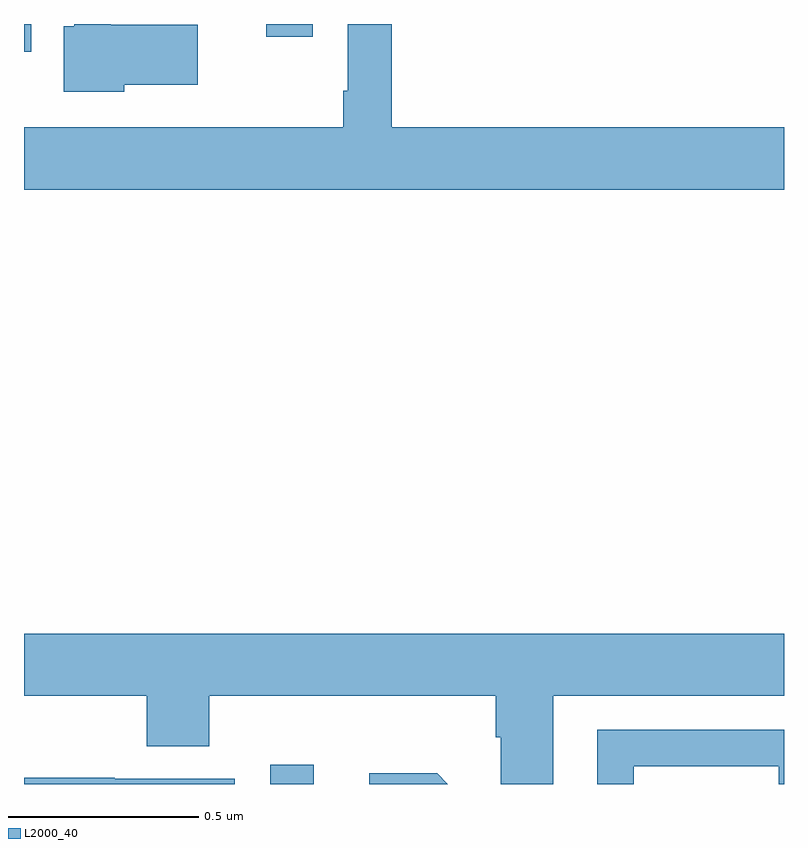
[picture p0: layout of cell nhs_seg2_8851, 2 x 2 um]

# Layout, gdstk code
import gdstk
lib = gdstk.Library(unit=1e-6, precision=1e-09)
def R(c, l, rs):  # rectangles x0, y0, x1, y1
    for r in rs: c.add(gdstk.rectangle(r[:2], r[2:], *l))
def P(c, l, *ps):  # polygons
    for p in ps: c.add(gdstk.Polygon(p, *l))
L2000_40 = (2000, 40)

nhs_seg2_8851 = lib.new_cell('nhs_seg2_8851')
R(nhs_seg2_8851, L2000_40, [(222.648,584.8,222.763,584.851), (222,586.727,222.019,586.8), (222.638,586.767,222.76,586.8)])
P(nhs_seg2_8851, L2000_40, [(224,586.528),(222.968,586.528),(222.968,586.8),(222.852,586.8),(222.852,586.624),(222.84,586.624),(222.84,586.528),(222,586.528),(222,586.364),(224,586.364)],
  [(222.264,586.64),(222.457,586.64),(222.457,586.798),(222.228,586.798),(222.228,586.8),(222.132,586.8),(222.132,586.794),(222.104,586.794),(222.104,586.622),(222.264,586.622)],
  [(223.393,585.032),(224,585.032),(224,585.196),(222,585.196),(222,585.032),(222.323,585.032),(222.323,584.899),(222.488,584.899),(222.488,585.032),(223.241,585.032),(223.241,584.923),(223.254,584.923),(223.254,584.8),(223.393,584.8)],
  [(223.605,584.847),(223.986,584.847),(223.986,584.8),(224,584.8),(224,584.943),(223.509,584.943),(223.509,584.8),(223.605,584.8)],
  [(223.087,584.828),(222.909,584.828),(222.909,584.8),(223.115,584.8)],
  [(222.555,584.814),(222.239,584.814),(222.239,584.816),(222,584.816),(222,584.8),(222.555,584.8)])

lib.write_gds('nhs_seg2_8851.gds')
